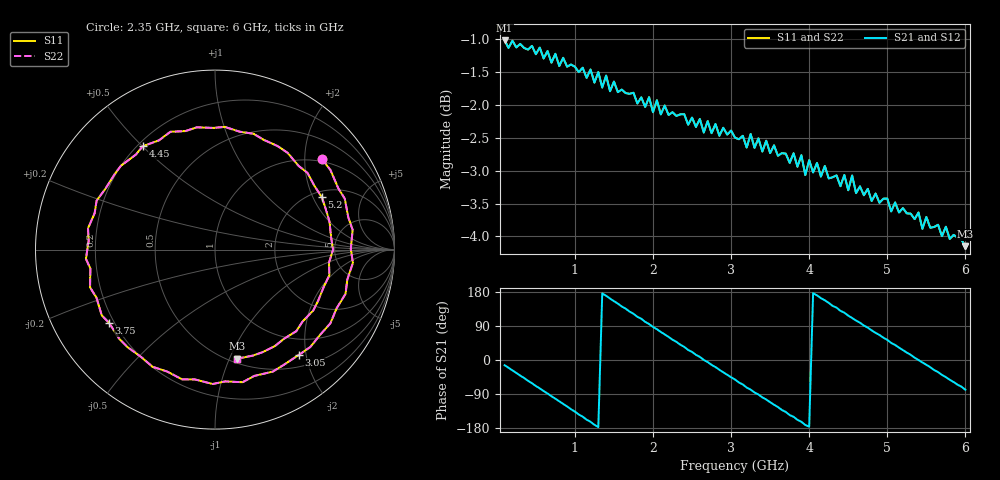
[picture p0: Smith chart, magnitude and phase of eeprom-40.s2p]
! Created with skrf 2.0.0 (http://scikit-rf.org).
# Hz S RI R 50.0
!freq ReS11 ImS11 ReS21 ImS21 ReS12 ImS12 ReS22 ImS22
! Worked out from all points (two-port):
!   119 points, 100 MHz to 6 GHz, reference 50 ohm
!   highest |S21| = -1.02 dB at 100 MHz (marker M1); lowest = -4.1 dB at 6 GHz (marker M2)
!   |S21| within 3 dB of the highest: start of sweep to 5.796 GHz; 5.811 GHz to 5.911 GHz (99.62 MHz wide, 1.7 % of centre)
!   lowest |S11| = -4.1 dB at 6 GHz (marker M3), VSWR 4.27, Z = 27 - j53.4 ohm
!   |S11| at or under -10 dB: nowhere
!   |S22| runs from -4.1 to -1.0 dB; largest |S21 - S12| = 0
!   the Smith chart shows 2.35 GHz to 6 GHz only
!   S11 on the Smith chart (normalised r, x): 2.35 GHz: 0.92, +2.40; 3.05 GHz: 0.69, -1.86; 3.75 GHz: 0.18, -0.30; 4.45 GHz: 0.22, +0.50; 5.2 GHz: 2.26, +2.35; 6 GHz: 0.54, -1.07
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1e8  0.863 -0.2124  0.863 -0.2124  0.863 -0.2124  0.863 -0.2124
4e8  0.5029 -0.7156  0.5029 -0.7156  0.5029 -0.7156  0.5029 -0.7156
6.5e8  0.024 -0.8721  0.024 -0.8721  0.024 -0.8721  0.024 -0.8721
8.5e8  -0.3766 -0.7755  -0.3766 -0.7755  -0.3766 -0.7755  -0.3766 -0.7755
1.1e9  -0.731 -0.4286  -0.731 -0.4286  -0.731 -0.4286  -0.731 -0.4286
1.3e9  -0.8398 -0.0444  -0.8398 -0.0444  -0.8398 -0.0444  -0.8398 -0.0444
1.5e9  -0.7514 0.3456  -0.7514 0.3456  -0.7514 0.3456  -0.7514 0.3456
1.8e9  -0.3228 0.7276  -0.3228 0.7276  -0.3228 0.7276  -0.3228 0.7276
2.1e9  0.2146 0.7509  0.2146 0.7509  0.2146 0.7509  0.2146 0.7509
2.35e9  0.5943 0.5069  0.5943 0.5069  0.5943 0.5069  0.5943 0.5069
2.7e9  0.7683 -0.0739  0.7683 -0.0739  0.7683 -0.0739  0.7683 -0.0739
3.05e9  0.466 -0.5875  0.466 -0.5875  0.466 -0.5875  0.466 -0.5875
3.35e9  -0.0132 -0.7489  -0.0132 -0.7489  -0.0132 -0.7489  -0.0132 -0.7489
3.75e9  -0.59 -0.4083  -0.59 -0.4083  -0.59 -0.4083  -0.59 -0.4083
4.05e9  -0.704 0.0489  -0.704 0.0489  -0.704 0.0489  -0.704 0.0489
4.45e9  -0.4023 0.576  -0.4023 0.576  -0.4023 0.576  -0.4023 0.576
4.75e9  0.055 0.6835  0.055 0.6835  0.055 0.6835  0.055 0.6835
5.05e9  0.4659 0.4662  0.4659 0.4662  0.4659 0.4662  0.4659 0.4662
5.2e9  0.5956 0.2913  0.5956 0.2913  0.5956 0.2913  0.5956 0.2913
5.5e9  0.637 -0.1429  0.637 -0.1429  0.637 -0.1429  0.637 -0.1429
5.75e9  0.453 -0.4546  0.453 -0.4546  0.453 -0.4546  0.453 -0.4546
6e9  0.123 -0.608  0.123 -0.608  0.123 -0.608  0.123 -0.608
